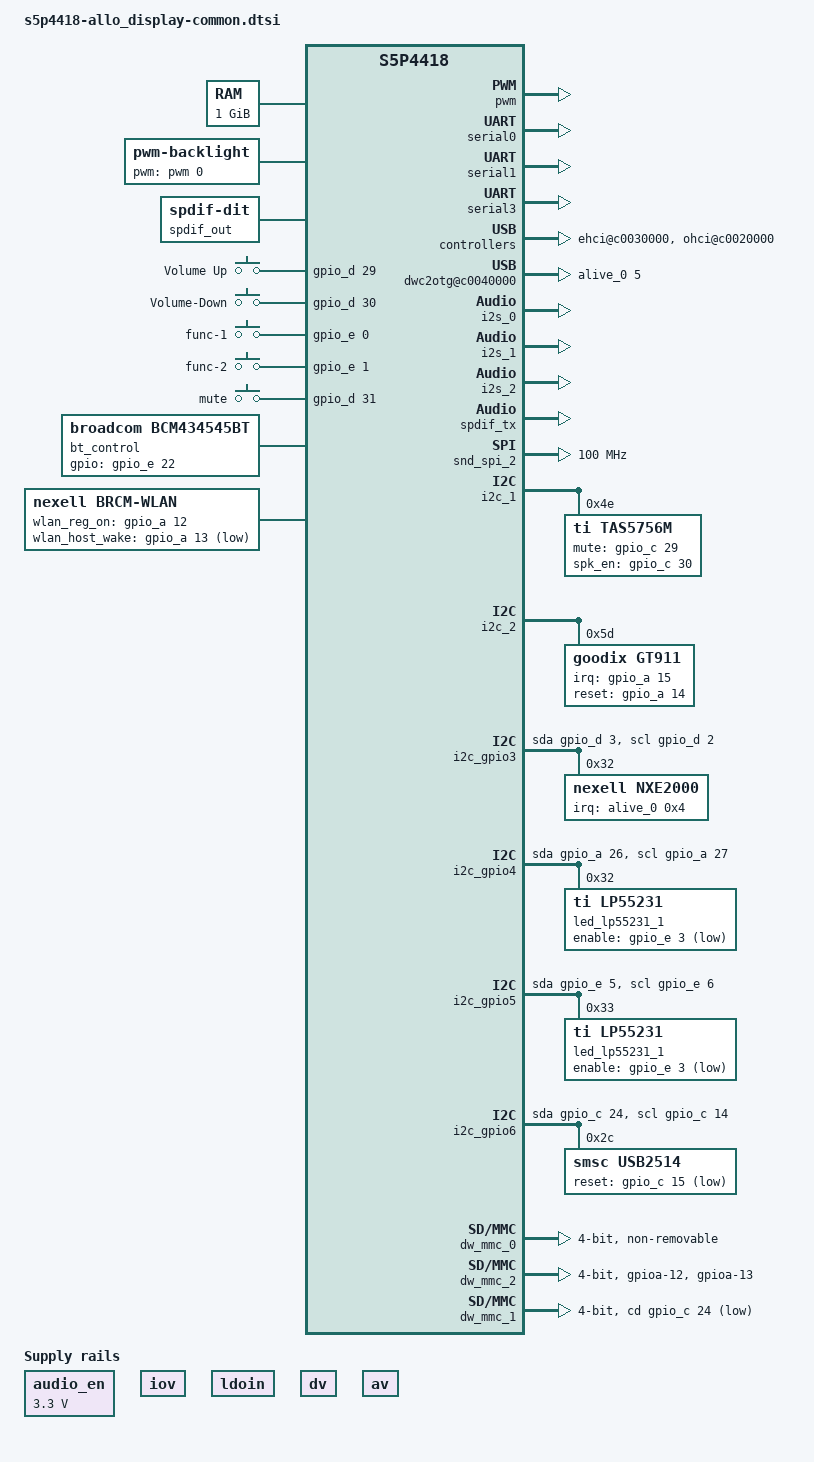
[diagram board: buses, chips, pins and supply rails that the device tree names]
/*
 * Copyright (C) 2016  Nexell Co., Ltd.
 * Author: Youngbok, Park <ybpark@nexell.co.kr>
 *
 * This program is free software; you can redistribute it and/or
 * modify it under the terms of the GNU General Public License
 * as published by the Free Software Foundation; either version 2
 * of the License, or (at your option) any later version.
 *
 * This program is distributed in the hope that it will be useful,
 * but WITHOUT ANY WARRANTY; without even the implied warranty of
 * MERCHANTABILITY or FITNESS FOR A PARTICULAR PURPOSE.  See the
 * GNU General Public License for more details.
 *
 * You should have received a copy of the GNU General Public License
 * along with this program.  If not, see <http://www.gnu.org/licenses/>.
 */

#include <dt-bindings/interrupt-controller/irq.h>
#include <dt-bindings/gpio/gpio.h>
#include <dt-bindings/input/input.h>
#include "nxp4330.dtsi"

#define PMIC_PDATA_INIT(_id, _rname, _minuv,			\
			_maxuv, _init_uv, _init_enable,		\
			_set_init_uV, _slp_slots)		\
			regulator-name = _rname;		\
			regulator-min-microvolt = <_minuv>;	\
			regulator-max-microvolt = <_maxuv>;	\
			nx,id = <_id>;				\
			nx,init_enable = <_init_enable>;	\
			nx,init_uV = <_init_uv>;		\
			nx,set_init_uV = <_set_init_uV>;	\
			nx,sleep_slots = <_slp_slots>;

/ {
	memory {
		device_type = "memory";
		reg = <0x71000000 0x40000000>;
	};

	psci {
		compatible = "arm,psci-0.2";
		method = "smc";
	};

	aliases {
		i2c3 = &i2c_gpio3;
		i2c4 = &i2c_gpio4;
		i2c5 = &i2c_gpio5;
		i2c6 = &i2c_gpio6;
	};

	soc {
		#include "s5p4418-pinctrl.dtsi"
		clocks {
			uart3:uart@c00ab000 { clock-frequency = <147500000>; };
			uart1:uart@c00a8000 { clock-frequency = <100000000>; };
			uart0:uart@c00a9000 { clock-frequency = <147500000>; };
			dummy_clk: dummy_clk {
				#clock-cells = <0>;
				clock-output-names = "dummy_clk";
				compatible = "fixed-clock";
				clock-frequency = <0>;
			};
			pwm0:pwm0@c00ba000 {
				clk-input = <I_PLL2>;
				clock-frequency = <10000000>;
			};

			pwm1:pwm1@c00ba000 {
				clk-input = <I_PLL0>;
				clock-frequency = <80000000>;
			};
		};

		pwm:pwm@c0018000 {
/*
			clocks =  <&pwm0>, <&pwm1>;
			clock-names = "pwm-tclk0", "pwm-tclk1";
*/
			clock-names = "timers", "pwm-tclk0", "pwm-tclk1";
			clocks =  <&pclk>, <&pwm0>, <&pwm1>;
			pinctrl-names = "default";
			pinctrl-0 = <&pwm0_pin &pwm1_pin>;
			samsung,pwm-outputs = <0>, <1>;
			status = "okay";
		};

		pinctrl@C0010000 {
			/*
			i2s1_bus:i2s1 {
				/delete-node/ i2s1-mclk;
			};

			i2s2_bus:i2s2 {
				/delete-node/ i2s2-mclk;
			};
			*/
			/delete-node/ spdiftx_pin;
            /delete-node/ i2s1_bus;
			/delete-node/ dp_rgb_vclk;
			/delete-node/ dp_rgb_vsync;
			/delete-node/ dp_rgb_hsync;
			/delete-node/ dp_rgb_de;
			/delete-node/ dp_rgb_B;
			/delete-node/ dp_rgb_G;
			/delete-node/ dp_rgb_R;
			/delete-node/ mpegts_cap0_data_clk_serial;
			/delete-node/ mpegts_cap0_sync;
			/delete-node/ mpegts_cap1_data_clk_parallel;
			/delete-node/ mpegts_cap1_data_clk_serial;
            i2s1_bus:i2s1 {
                nexell,pins = "gpioa-30", "gpiob-0",
                    "gpiob-6", "gpiob-9";
                nexell,pin-function = <NX_PIN_FUNC3>;
                nexell,pin-pull = <NX_PIN_PULL_DOWN>;
                nexell,pin-strength = <NX_PIN_STR0>;
            };

			bt_cfg_en:bt_cfg_en {
				nexell,pins = "gpioa-9";
				nexell,pin-function = <0>;
				nexell,pin-pull = <2>;
				nexell,pin-strength = <0>;
			};
			cfg_wlanen: cfg-wlanen {
				nexell,pins ="gpioa-12";
				nexell,pin-function = <0>;
				nexell,pin-pull = <2>;
				nexell,pin-strength = <0>;
			};
			cfg_wlanhostwake: cfg-wlanhostwake {
				nexell,pins = "gpioa-13";
				nexell,pin-function = <0>;
				nexell,pin-pull = <1>;
				nexell,pin-strength = <0>;
			};
		};

		l2:l2-cache-controller@cf000000 {
			arm,prefetch-offset = <7>;
			prefetch-data = <1>;
			prefetch-instr = <1>;
			arm,tag-latency = <3 4 3>;
			arm,data-latency = <3 4 3>;
		};
		serial0:serial@c00a1000 {
			status ="okay";
		};

		serial1:serial@c00a0000 {
			dmas = <&pl08xdma0 0 0>, <&pl08xdma0 1 0>;
			dma-names = "tx", "rx";
			pinctrl-0 = <&serial1_pin>, <&serial1_flow_cts>,
						<&serial1_flow_rts>;
			status ="okay";
		};

		serial3:serial@c00a3000 {
			status ="okay";
		};

		amba {
			pl08xdma0:pl08xdma@c0000000 {
				use_isr;
			};

			pl08xdma1:pl08xdma@c0001000 {
				use_isr;
			};
		};

		watchdog@c0019000 {
			status = "okay";
		};

		rtc@c0010c00 {
			status = "okay";
		};

		nexell_usbphy: nexell-usbphy@c0012000 {
			status = "okay";
		};

		ehci@c0030000 {
			status = "okay";
			port@0 {
				status = "okay";
			};
		};

		ohci@c0020000 {
			status = "okay";
			port@0 {
				status = "okay";
			};
		};

		dwc2otg@c0040000 {
			gpios = <&alive_0 5 0>;
			status = "okay";
		};

		i2s_0:i2s@c0055000 {
			#sound-dai-cells = <1>;
			master-mode = <1>;
			mclk-in = <0>;
			trans-mode = <0>;
			frame-bit = <32>;
			sample-rate = <48000>;
			pre-supply-mclk = <1>;
			status = "okay";
		};

		i2s_1:i2s@c0056000 {
			#sound-dai-cells = <1>;
			master-mode = <0>;
			mclk-in = <1>;
			trans-mode = <0>;
			frame-bit = <32>;
			sample-rate = <48000>;
			pre-supply-mclk = <0>;
			status = "okay";
		};

		i2s_2:i2s@c0057000 {
			#sound-dai-cells = <1>;
			master-mode = <0>;
			mclk-in = <1>;
			trans-mode = <0>;
			frame-bit = <32>;
			sample-rate = <48000>;
			pre-supply-mclk = <0>;
			status = "okay";
		};

		spdif_tx: spdiftx@c0059000 {
			#sound-dai-cells = <1>;
			pcm-bit = <16>;
			sample_rate = <48000>;
			status = "okay";
		};

		snd_spi_2:snd_spi@c005f000 {
			data-bit = <16>;
			clock-frequency = <100000000>;
			clock-invert = <1>;
			clock-phase = <1>;
			status = "okay";
		};

        pinctrl@C0010000 {
            key_volup:key_volup {
                nexell,pins = "gpiod-29";
                nexell,pin-function = <0>;
                nexell,pin-pull = <1>;
                nexell,pin-strength = <0>;
            };

            key_voldown:key_voldown {
                nexell,pins = "gpiod-30";
                nexell,pin-function = <0>;
                nexell,pin-pull = <1>;
                nexell,pin-strength = <0>;
            };

            key_func1:key_func1 {
                nexell,pins = "gpioe-0";
                nexell,pin-function = <0>;
                nexell,pin-pull = <1>;
                nexell,pin-strength = <0>;
            };

            key_func2:key_func2 {
                nexell,pins = "gpioe-1";
                nexell,pin-function = <0>;
                nexell,pin-pull = <1>;
                nexell,pin-strength = <0>;
            };

            key_mute:key_mute {
                nexell,pins = "gpiod-31";
                nexell,pin-function = <0>;
                nexell,pin-pull = <1>;
                nexell,pin-strength = <0>;
            };
        };
		i2c_1:i2c@c00a5000 {
			#address-cells = <1>;
			#size-cells = <0>;
			status = "okay";

        	tas5756m:tas5756m@4E {
				#sound-dai-cells = <0>;
            	compatible = "ti,tas5756m";
	            status = "okay";
            	reg = <0x4E>;
            	tas5756m,mute_gpio = <&gpio_c 29 0>;
				tas5756m,spk_en_gpio = <&gpio_c 30 0>;
	        };
		};
        i2c_2:i2c@c00a6000 {
            status = "okay";
            #address-cells = <1>;
            #size-cells = <0>;

            goodix@5d {
                compatible = "goodix,gt911";
                reg = <0x5d>;
                interrupt-parent = <&gpio_a>;
                interrupts = <15 IRQ_TYPE_EDGE_FALLING>;
                irq-gpios = <&gpio_a 15 0>;
                reset-gpios = <&gpio_a 14 0>;
            };
        };

		i2c_gpio3: i2c@3 {
			compatible = "i2c-gpio";
			gpios = <&gpio_d 3 0
				&gpio_d 2 0
				>;
			#address-cells = <1>;
			#size-cells = <0>;
			status = "okay";

			nxe2000@32 {
				compatible = "nexell,nxe2000";
				reg = <0x32>;
				interrupt-parent = <&alive_0>;
				interrupts = <0x4 IRQ_TYPE_EDGE_FALLING>;

				regulators {
					VCC_DCDC0:
						dcdc1	{ PMIC_PDATA_INIT( 0,
							"nxe2000_dcdc1",
							900000, 1500000,
							1100000, 1, 0, 0x4)
							regulator-always-on;
							regulator-boot-on;};
					VCC_DCDC1:
						dcdc2	{ PMIC_PDATA_INIT( 1,
							"nxe2000_dcdc2",
							1000000, 1500000,
							1200000, 1, 0, 0x4)
							regulator-always-on;
							regulator-boot-on;};
					VCC_DCDC2:
						dcdc3	{ PMIC_PDATA_INIT( 2,
							"nxe2000_dcdc3",
							1000000, 3500000,
							3300000, 1, 1, 0x0)
							regulator-always-on;
							regulator-boot-on;};
					VCC_DCDC3:
						dcdc4	{ PMIC_PDATA_INIT( 3,
							"nxe2000_dcdc4",
							1000000, 2000000,
							1500000, 1, 0, 0xF)
							regulator-always-on;
							regulator-boot-on;};
                    VCC_DCDC4:
                        dcdc5   { PMIC_PDATA_INIT( 4,
                            "nxe2000_dcdc5",
                            1000000, 2000000,
                            1500000, 1, 0, 0x4)
                            regulator-always-on;
                            regulator-boot-on;};
							/*
					VCC_DCDC4:
						dcdc5	{ PMIC_PDATA_INIT( 4,
							"nxe2000_dcdc5",
							1000000, 2000000,
							1500000, 0, 0, 0x4)
							regulator-always-on;
							regulator-boot-on;};
							*/
					VCC_LDO0:
						ldo1	{ PMIC_PDATA_INIT( 5,
							"nxe2000_ldo1",
							1000000, 3500000,
							1800000, 0, 1, 0x0)
							regulator-boot-on;};
					VCC_LDO1:
						ldo2	{ PMIC_PDATA_INIT( 6,
							"nxe2000_ldo2",
							1000000, 3500000,
							1800000, 0, 1, 0x0)
							regulator-boot-on;};
					VCC_LDO2:
						ldo3	{ PMIC_PDATA_INIT( 7,
							"nxe2000_ldo3",
							1000000, 3500000,
							1800000, 1, 1, 0x2)
							regulator-always-on;
							regulator-boot-on;};
					VCC_LDO3:
						ldo4	{ PMIC_PDATA_INIT( 8,
							"nxe2000_ldo4",
							1000000, 3500000,
							1800000, 1, 1, 0x2)
							regulator-always-on;
							regulator-boot-on;};
					VCC_LDO4:
						ldo5	{ PMIC_PDATA_INIT( 9,
							"nxe2000_ldo5",
							1000000, 3500000,
							3300000, 0, 1, 0x0)
							regulator-boot-on;};
					VCC_LDO5:
						ldo6	{ PMIC_PDATA_INIT(10,
							"nxe2000_ldo6",
							1000000, 3500000,
							3300000, 1, 1, 0xF)
							regulator-always-on;
							regulator-boot-on;};
					VCC_LDO6:
						ldo7	{ PMIC_PDATA_INIT(11,
							"nxe2000_ldo7",
							1000000, 3500000,
							2800000, 0, 1, 0x1)
							regulator-always-on;
							regulator-boot-on;};
					VCC_LDO7:
						ldo8	{ PMIC_PDATA_INIT(12,
							"nxe2000_ldo8",
							1000000, 3500000,
							3300000, 0, 1, 0x0)
							regulator-boot-on;};
					VCC_LDO8:
						ldo9	{ PMIC_PDATA_INIT(13,
							"nxe2000_ldo9",
							1000000, 3500000,
							3300000, 0, 1, 0x0)
							regulator-boot-on;};
					VCC_LDO9:
						ldo10	{ PMIC_PDATA_INIT(14,
							"nxe2000_ldo10",
							1000000, 3500000,
							1000000, 1, 1, 0x0)
							regulator-always-on;
							regulator-boot-on;};
					VCC_RTC0:
						ldortc1	{ PMIC_PDATA_INIT(15,
							"nxe2000_rtc1",
							1700000, 3500000,
							1800000, 1, 1, 0xF)
							regulator-always-on;
							regulator-boot-on;};
					VCC_RTC1:
						ldortc2	{ PMIC_PDATA_INIT(16,
							"nxe2000_rtc2",
							1000000, 3500000,
							1000000, 1, 1, 0xF)
							regulator-always-on;
							regulator-boot-on;};
				}; 
			}; 
		}; 
        i2c_gpio4: i2c@4 {
            compatible = "i2c-gpio";
            gpios = <&gpio_a 26 0        /* SDA */
                &gpio_a 27 0     /* SCL */
                >;
            #address-cells = <1>;
            #size-cells = <0>;
            status = "okay";

        	led_lp55231_1@32 {
				compatible = "ti,lp55231";
		        reg = <0x32>;
		        //pinctrl-names = "led_en";
		        //pinctrl-0 = <&led_en>;
		        enable-gpio = <&gpio_e 3 0x1>;
	    	    clock-mode = <2>;
		        chan0 {
		            chan-name = "d1";
		            led-cur = <0x14>;
		            max-cur = <0x20>;
		        };
		        chan1 {
		            chan-name = "d2";
		            led-cur = <0x14>;
		            max-cur = <0x20>;
		        };
		        chan2 {
		            chan-name = "d3";
		            led-cur = <0x14>;
		            max-cur = <0x20>;
		        };
		        chan3 {
		            chan-name = "d4";
		            led-cur = <0x14>;
		            max-cur = <0x20>;
		        };
		        chan4 {
		            chan-name = "d5";
		            led-cur = <0x14>;
		            max-cur = <0x20>;
		        };
	            chan5 {
		            chan-name = "d6";
		            led-cur = <0x14>;
		            max-cur = <0x20>;
		        };
		        chan6 {
		            chan-name = "d7";
		            led-cur = <0x14>;
		            max-cur = <0x20>;
		        };
		        chan7 {
		            chan-name = "d8";
		            led-cur = <0x14>;
		            max-cur = <0x20>;
	    	    };
		        chan8 {
		            chan-name = "d9";
		            led-cur = <0x14>;
		            max-cur = <0x20>;
	    	    };
			};
        }; /* i2c_gpio4 */
        i2c_gpio5: i2c@5 {
            compatible = "i2c-gpio";
            gpios = <&gpio_e 5 0        /* SDA */
                &gpio_e 6 0     /* SCL */
                >;
            #address-cells = <1>;
            #size-cells = <0>;
            status = "okay";

            led_lp55231_1@32 {
	            compatible = "ti,lp55231";
	            reg = <0x33>;
	            //pinctrl-names = "led_en";
	            //pinctrl-0 = <&led_en>;
	            enable-gpio = <&gpio_e 3 0x1>;
	            clock-mode = <2>;

	            chan0 {
	                chan-name = "d10";
	                led-cur = <0x14>;
	                max-cur = <0x20>;
	            };
	            chan1 {
	                chan-name = "d11";
	                led-cur = <0x14>;
	                max-cur = <0x20>;
	            };
	            chan2 {
	                chan-name = "d12";
	                led-cur = <0x14>;
	                max-cur = <0x20>;
	            };
	            chan3 {
	                chan-name = "d13";
	                led-cur = <0x14>;
	                max-cur = <0x20>;
	            };
	            chan4 {
	                chan-name = "d14";
	                led-cur = <0x14>;
	                max-cur = <0x20>;
	            };
	            chan5 {
	                chan-name = "d15";
	                led-cur = <0x14>;
	                max-cur = <0x20>;
	            };
	            chan6 {
	                chan-name = "d16";
	                led-cur = <0x14>;
	                max-cur = <0x20>;
	            };
	            chan7 {
	                chan-name = "d17";
	                led-cur = <0x14>;
	                max-cur = <0x20>;
	            };
	            chan8 {
	                chan-name = "d18";
	                led-cur = <0x14>;
	                max-cur = <0x20>;
	            };
			};
		};  /* i2c_gpio5 */
	    i2c_gpio6: i2c@6 {
	        compatible = "i2c-gpio";
	        gpios = <&gpio_c 24 0 /* sda */
	            &gpio_c 14 0 /* scl */
	            >;
	        i2c-gpio,delay-us = <100>;
	        #address-cells = <1>;
	        #size-cells = <0>;

	        usb2514: usb2514@2c {
	            compatible = "smsc,usb2514";
	            reg = <0x2c>;
	            reset-gpios = <&gpio_c 15 1>;
	            initial-mode = <1>;
	        };
	    };	/* i2c_gpio6 */
	}; /*** soc ***/

    backlight: pwm-backlight {
        compatible = "pwm-backlight";
        pwm-names = "pwm-backlight";
        pwms = <&pwm 0 50000 1>;
        brightness-levels = <
            128 128 129 129 130 130 131 131 132 132
            133 133 134 134 135 135 136 136 137 137
            138 138 139 139 140 140 141 141 142 142
            143 143 144 144 145 145 146 146 147 147
            148 148 149 149 150 150 151 151 152 152
            153 153 154 154 155 155 156 156 157 157
            158 158 159 159 160 160 161 161 162 162
            163 163 164 164 165 165 166 166 167 167
            168 168 169 169 170 170 171 171 172 172
            173 173 174 174 175 175 176 176 177 177
            178 178 179 179 180 180 181 181 182 182
            183 183 184 184 185 185 186 186 187 187
            188 188 189 189 190 190 191 191 192 192
            193 193 194 194 195 195 196 196 197 197
            198 198 199 199 200 200 201 201 202 202
            203 203 204 204 205 205 206 206 207 207
            208 208 209 209 210 210 211 211 212 212
            213 213 214 214 215 215 216 216 217 217
            218 218 219 219 220 220 221 221 222 222
            223 223 224 224 225 225 226 226 227 227
            228 228 229 229 230 230 231 231 232 232
            233 233 234 234 235 235 236 236 237 237
            238 238 239 239 240 240 241 241 242 242
            243 243 244 244 245 245 246 246 247 247
            248 248 249 249 250 250 251 251 252 252
            253 253 254 254 255 255
            >;
        default-brightness-level = <1>;
        status = "okay";
    };

	audio_en: regulator-fix@0 {
		compatible = "regulator-fixed";

		regulator-name = "AUDIO EN";
		regulator-min-microvolt = <3300000>;
		regulator-max-microvolt = <3300000>;
		regulator-boot-on;
		regulator-always-on;
	};

	iov: regulator-fix@1 {
		compatible = "regulator-fixed";

		regulator-name = "IOV";
	};

	ldoin: regulator-fix@2 {
		compatible = "regulator-fixed";

		regulator-name = "LDOIN";
	};

	dv: regulator-fix@3 {
		compatible = "regulator-fixed";

		regulator-name = "DV";
	};

	av: regulator-fix@4 {
		compatible = "regulator-fixed";

		regulator-name = "AV";
	};

	snd_null: snd_null@0 {
		#sound-dai-cells = <0>;
		compatible = "nexell,snd-null";
		#address-cells = <1>;
		#size-cells = <0>;
		reg = <0 0>;
	};

	spdif_out: spdif-out {
		#sound-dai-cells = <0>;
		compatible = "linux,spdif-dit";
	};

    gpio_key: gpio_keys {
        compatible = "gpio-keys";
        #address-cells = <1>;
        #size-cells = <0>;
        pinctrl-names = "default";
        pinctrl-0 = <&key_volup &key_voldown &key_func1 &key_func2 &key_mute>;

        volup {
            label = "Volume Up";
            gpios = <&gpio_d 29 0>;
            linux,code = <KEY_VOLUMEUP>;
            gpio-key,wakeup;

        };

        voldown {
            label = "Volume-Down";
            gpios = <&gpio_d 30 0>;
            linux,code = <KEY_VOLUMEDOWN>;
        };

        func1 {
            label = "func-1";
            gpios = <&gpio_e 0 0>;
            linux,code = <KEY_F1>;
        };

        func2 {
            label = "func-2";
            gpios = <&gpio_e 1 0>;
            linux,code = <KEY_F2>;
        };

        mute {
            label = "mute";
            gpios = <&gpio_d 31 0>;
            linux,code = <KEY_MUTE>;
        };
    };

	snd_pcm_allo_display:snd_pcm_allo_display@1 {
		#sound-dai-cells = <0>;
		compatible = "nexell,snd-pcm-smart-voice";
		status = "okay";
	};

	snd_allo_display: snd_allo_display@0 {
		#sound-dai-cells = <0>;
		compatible = "nexell,snd-smart-voice,i2s,pl022";
		#address-cells = <1>;
		#size-cells = <0>;
		gpio_regs = < PHYS_BASE_GPIOA 0x1000
			PHYS_BASE_GPIOB 0x1000
			PHYS_BASE_GPIOC 0x1000
			PHYS_BASE_GPIOD 0x1000
			PHYS_BASE_GPIOE 0x1000
			PHYS_BASE_ALIVE 0x200>;

		clkgen_regs = <PHYS_BASE_CLK_15 0x1000
			PHYS_BASE_CLK_16 0x1000
			PHYS_BASE_CLK_17 0x1000>;

		ref {
			sound-dev = <&i2s_2 0>;
		};

		mic {
			ch@4 {
				sound-dev = <&snd_spi_2 0>;
				pin {
				spi-cs-gpio = <&gpio_c 16 0>;
				pdm-isrun-gpio = <&gpio_d 20 0>;
				pdm-lrck-gpio = <&gpio_b 26 0>;
				i2s-lrck-gpio = <&gpio_b 4 0>;
				pdm-nrst-gpio = <&gpio_d 16 0>;
				};
			};
		};
	};

	sound {
		compatible = "nexell,simple-audio-card";
		simple-audio-card,name = "s5p4418 allo_display Audio";
		simple-audio-card,widgets =
		    "Headphone", "Out Jack";
		simple-audio-card,routing =
		    "Out Jack", "HPL",
		    "Out Jack", "HPR";
		status = "okay";
		simple-audio-card,dai-link@0 {
			format = "i2s";
			cpu {
				sound-dai = <&i2s_0 0>;
			};

			codec {
				sound-dai = <&tas5756m>;
			};
		};

		simple-audio-card,dai-link@1 {
			format = "i2s";
			cpu {
				sound-dai = <&i2s_1 0>;
			};

			codec {
				sound-dai = <&snd_null>;
			};
		};

		simple-audio-card,dai-link@2 {
			format = "i2s";
			cpu {
				sound-dai = <&i2s_2 0>;
			};

			plat {
				sound-dai = <&snd_pcm_allo_display>;
			};

			codec {
				sound-dai = <&snd_allo_display>;
			};
		};

		simple-audio-card,dai-link@3 {
			format = "spdif";
			mclk-fs = <256>;
			cpu {
				sound-dai = <&spdif_tx 0>;
			};

			codec {
				sound-dai = <&spdif_out>;
			};
		};

		simple-audio-card,dai-link@4 {
			format = "spi";
			cpu {
				sound-dai = <&snd_spi_2 0>;
			};
			codec {
				sound-dai = <&snd_allo_display>;
			};
		};
	};
	bt_control {
		compatible = "broadcom,bcm434545bt";
		gpios = <&gpio_e 22 0>;   
		pinctrl-names = "default";
		pinctrl-0 = <&bt_cfg_en>;
		status = "okay";
	};
	wlan {
		compatible = "nexell,brcm-wlan";
		wlan_reg_on = <&gpio_a 12 0>;
		wlan_host_wake = <&gpio_a 13 1>;
		status = "okay";
    };
};



&dw_mmc_0 {
	num-slots = <1>;
	bus-width = <4>;
	cap-mmc-highspeed;
	broken-cd;
	non-removable;
	clock-frequency = <100000000>;
	card-detect-delay = <200>;
	disable-wp;
	nexell,drive_dly = <0x0>;
	nexell,drive_shift = <0x02>;
	nexell,sample_dly = <0x00>;
	nexell,sample_shift = <0x01>;
	status = "okay";
};

&dw_mmc_2 {
	num-slots = <1>;
	bus-width = <4>;
	cap-sd-highspeed;
	cd-type-external;
	broken-cd;
	pm-ignore-notify;
	keep-power-in-suspend;
	powered-resumed-nonremovable-card;
	cd-type = <2>;
	clock-frequency = <100000000>;
	nexell,drive_dly = <0x0>;
	nexell,drive_shift = <0x02>;
	nexell,sample_dly = <0x00>;
	nexell,sample_shift = <0x01>;

	pinctrl-names = "default";
	pinctrl-0 = <&sdmmc2_cclk &sdmmc2_cmd &sdmmc2_bus4
			&cfg_wlanen &cfg_wlanhostwake>;

	status = "okay";
};
&dw_mmc_1 {
	num-slots = <1>;
	bus-width = <4>;
	cap-sd-highspeed;
	clock-frequency = <100000000>;
	card-detect-delay = <200>;
	disable-wp;
	cd-gpios = <&gpio_c 24 0>;
	cd-inverted;
	nexell,drive_dly = <0x0>;
	nexell,drive_shift = <0x02>;
	nexell,sample_dly = <0x00>;
	nexell,sample_shift = <0x01>;
	status = "okay";
};

&i2s0_bus {
	i2s0_mclk: i2s0-mclk {
		nexell,pin-strength = <0>;
	};
	i2s0_bclk: i2s0-bclk {
		nexell,pin-strength = <0>;
	};
};

&pwm {
	pinctrl-names = "default";
	pinctrl-0 = <&pwm0_pin &pwm1_pin>;
	samsung,pwm-outputs = <0>, <1>;
	status = "okay";
};

